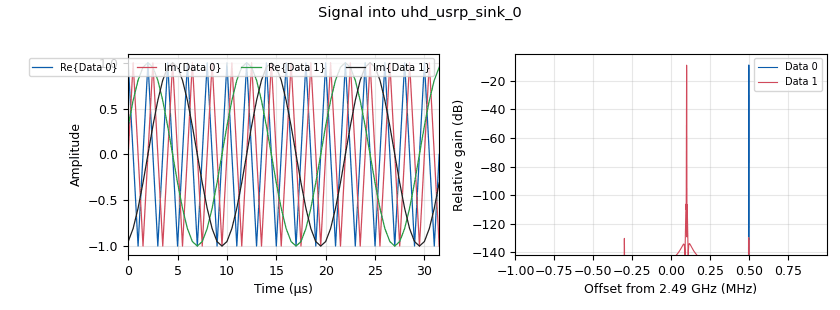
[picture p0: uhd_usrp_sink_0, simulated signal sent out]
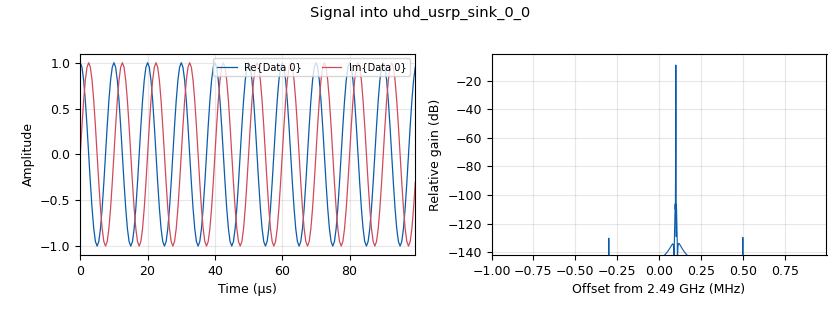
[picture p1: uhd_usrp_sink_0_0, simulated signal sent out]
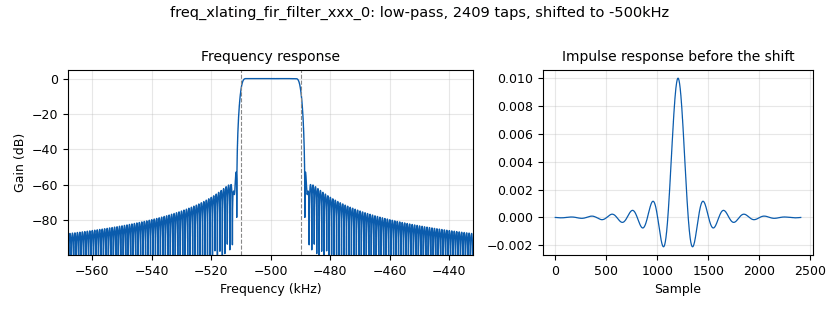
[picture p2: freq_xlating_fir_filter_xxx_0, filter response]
options:
  parameters:
    generate_options: qt_gui
    id: first_try_pa
    output_language: python
    title: Not titled yet
  states: {}

blocks:
- name: P_noise
  id: variable_qtgui_range
  parameters:
    start: '0'
    step: '0.1'
    stop: '1'
    value: '0'
  states: {}
- name: R_gain
  id: variable_qtgui_range
  parameters:
    start: '0'
    step: '1'
    stop: '20'
    value: '20'
  states: {}
- name: T_gain
  id: variable_qtgui_range
  parameters:
    start: '0'
    step: '1'
    stop: '30'
    value: '30'
  states: {}
- name: c_light_speed
  id: variable
  parameters:
    value: '299792458.0'
  states: {}
- name: d_x
  id: variable
  parameters:
    value: wavelength / 2
  states: {}
- name: freq_wave
  id: variable
  parameters:
    value: 2.49e9
  states: {}
- name: jammer_angle
  id: variable
  parameters:
    value: np.radians(jammer_angle_deg)
  states: {}
- name: jammer_angle_deg
  id: variable_qtgui_range
  parameters:
    start: '-90'
    step: '1'
    stop: '90'
    value: '30'
  states: {}
- name: phase_shift
  id: variable
  parameters:
    value: 2 * np.pi * (d_x / wavelength) * np.sin(jammer_angle)
  states: {}
- name: pilot_offset
  id: variable
  parameters:
    value: 500e3
  states: {}
- name: samp_rate
  id: variable
  parameters:
    value: 2e6
  states: {}
- name: wavelength
  id: variable
  parameters:
    value: 99792458.0 / freq_wave
  states: {}
- name: analog_sig_source_x_0
  id: analog_sig_source_x
  parameters:
    amp: '1'
    freq: 100e3
    offset: '0'
    phase: '0'
    samp_rate: samp_rate
    type: complex
    waveform: analog.GR_COS_WAVE
  states: {}
- name: analog_sig_source_x_1
  id: analog_sig_source_x
  parameters:
    amp: '1'
    freq: pilot_offset
    offset: '0'
    phase: '0'
    samp_rate: samp_rate
    type: complex
    waveform: analog.GR_COS_WAVE
  states: {}
- name: band_pass_filter_0
  id: band_pass_filter
  parameters:
    decim: '1'
    gain: '1'
    high_cutoff_freq: 1.1 * freq_wave
    low_cutoff_freq: 0.9 * freq_wave
    samp_rate: samp_rate
    type: fir_filter_ccf
    width: 0.01 * freq_wave
    win: window.WIN_HAMMING
  states: {}
- name: band_pass_filter_0_0
  id: band_pass_filter
  parameters:
    decim: '1'
    gain: '1'
    high_cutoff_freq: 1.1 * freq_wave
    low_cutoff_freq: 0.9 * freq_wave
    samp_rate: samp_rate
    type: fir_filter_ccf
    width: 0.01 * freq_wave
    win: window.WIN_HAMMING
  states: {}
- name: beamod_mvdr_beamformer_0
  id: beamod_mvdr_beamformer
  parameters:
    ant_positions: '[0, d_x, 2*d_x, 3*d_x]'
    freq: freq_wave
    snapshots: 512 * 10
    target_angle: '0.0'
  states: {}
- name: beamod_pilot_sync_0
  id: beamod_pilot_sync
  parameters: {}
  states: {}
- name: blocks_multiply_const_vxx_1
  id: blocks_multiply_const_vxx
  parameters:
    const: 10**(10/20)
    type: complex
  states: {}
- name: blocks_multiply_const_vxx_1_0
  id: blocks_multiply_const_vxx
  parameters:
    const: 10**(10/20)
    type: complex
  states: {}
- name: freq_xlating_fir_filter_xxx_0
  id: freq_xlating_fir_filter_xxx
  parameters:
    center_freq: '-pilot_offset'
    decim: '1'
    samp_rate: samp_rate
    taps: firdes.low_pass(1.0, samp_rate, 10e3, 2e3)
    type: ccc
  states: {}
- name: freq_xlating_fir_filter_xxx_0_0
  id: freq_xlating_fir_filter_xxx
  parameters:
    center_freq: '-pilot_offset'
    decim: '1'
    samp_rate: samp_rate
    taps: firdes.low_pass(1.0, samp_rate, 10e3, 2e3)
    type: ccc
  states: {}
- name: import_0
  id: import
  parameters:
    imports: import numpy as np
  states: {}
- name: low_pass_filter_0
  id: low_pass_filter
  parameters:
    cutoff_freq: freq_wave
    decim: '1'
    gain: '1'
    samp_rate: samp_rate
    type: fir_filter_ccf
    width: 2e3
    win: window.WIN_HAMMING
  states: {state: disabled}
- name: low_pass_filter_0_0
  id: low_pass_filter
  parameters:
    cutoff_freq: freq_wave
    decim: '1'
    gain: '1'
    samp_rate: samp_rate
    type: fir_filter_ccf
    width: 2e3
    win: window.WIN_HAMMING
  states: {state: disabled}
- name: qtgui_freq_sink_x_0
  id: qtgui_freq_sink_x
  parameters:
    bw: samp_rate
    fc: '0'
    fftsize: '1024'
    nconnections: '2'
    type: complex
  states: {}
- name: uhd_usrp_sink_0
  id: uhd_usrp_sink
  parameters:
    ant0: '"TX/RX"'
    ant1: '"TX/RX"'
    center_freq0: freq_wave
    center_freq1: freq_wave
    gain0: T_gain
    gain1: T_gain
    nchan: '2'
    samp_rate: samp_rate
    sync: sync
    type: fc32
  states: {}
- name: uhd_usrp_sink_0_0
  id: uhd_usrp_sink
  parameters:
    ant0: '"TX/RX"'
    center_freq0: freq_wave
    gain0: T_gain
    samp_rate: samp_rate
    sync: sync
    type: fc32
  states: {}
- name: uhd_usrp_source_0
  id: uhd_usrp_source
  parameters:
    ant0: '"TX/RX"'
    ant1: '"RX2"'
    center_freq0: freq_wave
    center_freq1: freq_wave
    gain0: R_gain
    gain1: R_gain
    nchan: '2'
    samp_rate: samp_rate
    sync: sync
    type: fc32
  states: {}
- name: uhd_usrp_source_0_0
  id: uhd_usrp_source
  parameters:
    ant0: '"TX/RX"'
    ant1: '"RX2"'
    center_freq0: freq_wave
    center_freq1: freq_wave
    gain0: R_gain
    gain1: R_gain
    nchan: '2'
    samp_rate: samp_rate
    sync: sync
    type: fc32
  states: {}

connections:
- [analog_sig_source_x_0, '0', uhd_usrp_sink_0, '1']
- [analog_sig_source_x_0, '0', uhd_usrp_sink_0_0, '0']
- [analog_sig_source_x_1, '0', freq_xlating_fir_filter_xxx_0, '0']
- [analog_sig_source_x_1, '0', uhd_usrp_sink_0, '0']
- [band_pass_filter_0, '0', blocks_multiply_const_vxx_1, '0']
- [band_pass_filter_0_0, '0', blocks_multiply_const_vxx_1_0, '0']
- [beamod_mvdr_beamformer_0, '0', band_pass_filter_0_0, '0']
- [beamod_mvdr_beamformer_0, '0', low_pass_filter_0, '0']
- [beamod_pilot_sync_0, '0', beamod_mvdr_beamformer_0, '2']
- [beamod_pilot_sync_0, '1', beamod_mvdr_beamformer_0, '3']
- [blocks_multiply_const_vxx_1, '0', qtgui_freq_sink_x_0, '0']
- [blocks_multiply_const_vxx_1_0, '0', qtgui_freq_sink_x_0, '1']
- [freq_xlating_fir_filter_xxx_0, '0', beamod_pilot_sync_0, '2']
- [freq_xlating_fir_filter_xxx_0_0, '0', beamod_pilot_sync_0, '3']
- [low_pass_filter_0, '0', blocks_multiply_const_vxx_1_0, '0']
- [low_pass_filter_0_0, '0', blocks_multiply_const_vxx_1, '0']
- [uhd_usrp_source_0, '0', beamod_mvdr_beamformer_0, '0']
- [uhd_usrp_source_0, '1', beamod_mvdr_beamformer_0, '1']
- [uhd_usrp_source_0_0, '0', beamod_pilot_sync_0, '0']
- [uhd_usrp_source_0_0, '0', freq_xlating_fir_filter_xxx_0_0, '0']
- [uhd_usrp_source_0_0, '1', beamod_pilot_sync_0, '1']

metadata:
  file_format: 1
  grc_version: 3.10.9.2
